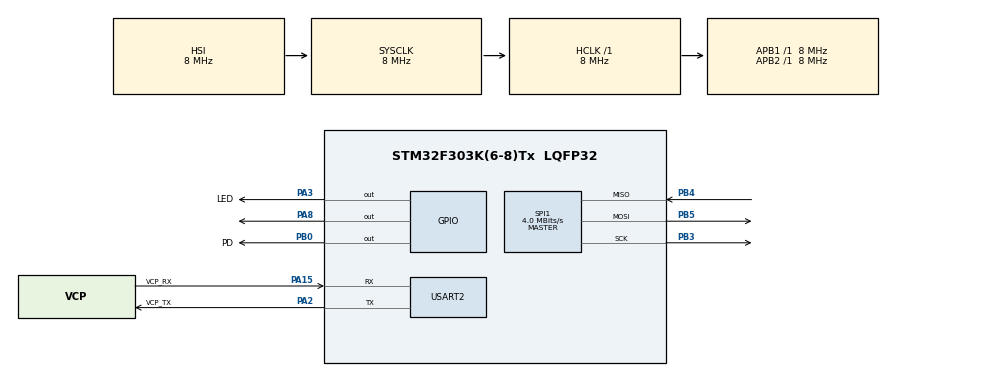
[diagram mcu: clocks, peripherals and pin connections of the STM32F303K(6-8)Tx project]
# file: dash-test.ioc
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Mcu.Family=STM32F3
Mcu.Name=STM32F303K(6-8)Tx
Mcu.Package=LQFP32
NVIC.PriorityGroup=NVIC_PRIORITYGROUP_4
PA13.GPIO_Label=SWDIO
PA13.Mode=Serial_Wire
PA13.Signal=SYS_JTMS-SWDIO
PA14.GPIO_Label=SWCLK
PA14.Mode=Serial_Wire
PA14.Signal=SYS_JTCK-SWCLK
PA15.GPIO_Label=VCP_RX
PA15.Mode=Asynchronous
PA15.Signal=USART2_RX
PA2.GPIO_Label=VCP_TX
PA2.Mode=Asynchronous
PA2.Signal=USART2_TX
PA3.GPIO_Label=LED
PA3.Signal=GPIO_Output
PA8.GPIO_Speed=GPIO_SPEED_FREQ_HIGH
PA8.PinState=GPIO_PIN_SET
PA8.Signal=GPIO_Output
PB0.GPIO_Label=PD
PB0.PinState=GPIO_PIN_SET
PB0.Signal=GPIO_Output
PB3.Mode=Full_Duplex_Master
PB3.Signal=SPI1_SCK
PB4.Mode=Full_Duplex_Master
PB4.Signal=SPI1_MISO
PB5.Mode=Full_Duplex_Master
PB5.Signal=SPI1_MOSI
PF0\ /\ OSC_IN.GPIO_Label=MCO
PF0\ /\ OSC_IN.Mode=HSE-External-Clock-Source
PF0\ /\ OSC_IN.Signal=RCC_OSC_IN
ProjectManager.HeapSize=0x200
ProjectManager.StackSize=0x400
ProjectManager.TargetToolchain=CMake
RCC.AHBFreq_Value=8000000
RCC.APB1Freq_Value=8000000
RCC.APB2Freq_Value=8000000
RCC.CortexFreq_Value=8000000
RCC.HSE_VALUE=8000000
RCC.HSI_VALUE=8000000
RCC.SYSCLKFreq_VALUE=8000000
SPI1.CalculateBaudRate=4.0 MBits/s
SPI1.DataSize=SPI_DATASIZE_8BIT
SPI1.Direction=SPI_DIRECTION_2LINES
SPI1.Mode=SPI_MODE_MASTER
SPI1.NSSPMode=SPI_NSS_PULSE_DISABLE
SPI1.VirtualType=VM_MASTER
USART2.VirtualMode-Asynchronous=VM_ASYNC
board=NUCLEO-F303K8

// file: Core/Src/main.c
/* USER CODE BEGIN Header */
/**
 ******************************************************************************
 * @file           : main.c
 * @brief          : Main program body
 ******************************************************************************
 * @attention
 *
 * Copyright (c) 2025 STMicroelectronics.
 * All rights reserved.
 *
 * This software is licensed under terms that can be found in the LICENSE file
 * in the root directory of this software component.
 * If no LICENSE file comes with this software, it is provided AS-IS.
 *
 ******************************************************************************
 */
/* USER CODE END Header */
#include "main.h"

/* USER CODE BEGIN Includes */
#include "bt817/address_mapping.h"
#include "bt817/bt817_api.h"
#include "bt817/bt817_init.h"
#include "bt817/dl_commands.h"
#include "bt817/host_commands.h"

/* USER CODE END Includes */

SPI_HandleTypeDef hspi1;

UART_HandleTypeDef huart2;

/* USER CODE BEGIN PV */
char errstr[128] = {0};
/* USER CODE END PV */

void SystemClock_Config(void);
static void MX_GPIO_Init(void);
static void MX_SPI1_Init(void);
static void MX_USART2_UART_Init(void);
/* USER CODE BEGIN PFP */
void test_display(void);
void readerr(char *str);
/* USER CODE END PFP */

int main(void) {

	/* MCU
	 * Configuration--------------------------------------------------------*/

	/* Reset of all peripherals, Initializes the Flash interface and the
	 * Systick. */
	HAL_Init();

	/* Configure the system clock */
	SystemClock_Config();

	/* Initialize all configured peripherals */
	MX_GPIO_Init();
	MX_SPI1_Init();
	MX_USART2_UART_Init();
	/* USER CODE BEGIN 2 */
	HAL_Delay(20);
	HAL_GPIO_WritePin(PD_GPIO_Port, PD_Pin, GPIO_PIN_RESET);
	HAL_Delay(6);
	HAL_GPIO_WritePin(PD_GPIO_Port, PD_Pin, GPIO_PIN_SET);
	HAL_Delay(21);
	bt817_init();
	test_display();
	/* USER CODE END 2 */

	/* Infinite loop */
	while (1) {

		/* USER CODE BEGIN 3 */
		// test_display();
		rd8(REG_ID);
		HAL_Delay(300);
	}
	/* USER CODE END 3 */
}

void SystemClock_Config(void) {
	RCC_OscInitTypeDef RCC_OscInitStruct = {0};
	RCC_ClkInitTypeDef RCC_ClkInitStruct = {0};

	/** Initializes the RCC Oscillators according to the specified
	 * parameters in the RCC_OscInitTypeDef structure.
	 */
	RCC_OscInitStruct.OscillatorType = RCC_OSCILLATORTYPE_HSI;
	RCC_OscInitStruct.HSIState = RCC_HSI_ON;
	RCC_OscInitStruct.HSICalibrationValue = RCC_HSICALIBRATION_DEFAULT;
	RCC_OscInitStruct.PLL.PLLState = RCC_PLL_NONE;
	if (HAL_RCC_OscConfig(&RCC_OscInitStruct) != HAL_OK) {
		Error_Handler();
	}

	/** Initializes the CPU, AHB and APB buses clocks
	 */
	RCC_ClkInitStruct.ClockType = RCC_CLOCKTYPE_HCLK |
	                              RCC_CLOCKTYPE_SYSCLK |
	                              RCC_CLOCKTYPE_PCLK1 | RCC_CLOCKTYPE_PCLK2;
	RCC_ClkInitStruct.SYSCLKSource = RCC_SYSCLKSOURCE_HSI;
	RCC_ClkInitStruct.AHBCLKDivider = RCC_SYSCLK_DIV1;
	RCC_ClkInitStruct.APB1CLKDivider = RCC_HCLK_DIV1;
	RCC_ClkInitStruct.APB2CLKDivider = RCC_HCLK_DIV1;

	if (HAL_RCC_ClockConfig(&RCC_ClkInitStruct, FLASH_LATENCY_0) !=
	    HAL_OK) {
		Error_Handler();
	}
}

static void MX_SPI1_Init(void) {

	/* SPI1 parameter configuration*/
	hspi1.Instance = SPI1;
	hspi1.Init.Mode = SPI_MODE_MASTER;
	hspi1.Init.Direction = SPI_DIRECTION_2LINES;
	hspi1.Init.DataSize = SPI_DATASIZE_8BIT;
	hspi1.Init.CLKPolarity = SPI_POLARITY_LOW;
	hspi1.Init.CLKPhase = SPI_PHASE_1EDGE;
	hspi1.Init.NSS = SPI_NSS_SOFT;
	hspi1.Init.BaudRatePrescaler = SPI_BAUDRATEPRESCALER_2;
	hspi1.Init.FirstBit = SPI_FIRSTBIT_MSB;
	hspi1.Init.TIMode = SPI_TIMODE_DISABLE;
	hspi1.Init.CRCCalculation = SPI_CRCCALCULATION_DISABLE;
	hspi1.Init.CRCPolynomial = 7;
	hspi1.Init.CRCLength = SPI_CRC_LENGTH_DATASIZE;
	hspi1.Init.NSSPMode = SPI_NSS_PULSE_DISABLE;
	if (HAL_SPI_Init(&hspi1) != HAL_OK) {
		Error_Handler();
	}
}

static void MX_USART2_UART_Init(void) {

	huart2.Instance = USART2;
	huart2.Init.BaudRate = 38400;
	huart2.Init.WordLength = UART_WORDLENGTH_8B;
	huart2.Init.StopBits = UART_STOPBITS_1;
	huart2.Init.Parity = UART_PARITY_NONE;
	huart2.Init.Mode = UART_MODE_TX_RX;
	huart2.Init.HwFlowCtl = UART_HWCONTROL_NONE;
	huart2.Init.OverSampling = UART_OVERSAMPLING_16;
	huart2.Init.OneBitSampling = UART_ONE_BIT_SAMPLE_DISABLE;
	huart2.AdvancedInit.AdvFeatureInit = UART_ADVFEATURE_NO_INIT;
	if (HAL_UART_Init(&huart2) != HAL_OK) {
		Error_Handler();
	}
}

static void MX_GPIO_Init(void) {
	GPIO_InitTypeDef GPIO_InitStruct = {0};

	/* GPIO Ports Clock Enable */
	__HAL_RCC_GPIOF_CLK_ENABLE();
	__HAL_RCC_GPIOA_CLK_ENABLE();
	__HAL_RCC_GPIOB_CLK_ENABLE();

	/*Configure GPIO pin Output Level */
	HAL_GPIO_WritePin(LED_GPIO_Port, LED_Pin, GPIO_PIN_RESET);

	/*Configure GPIO pin Output Level */
	HAL_GPIO_WritePin(PD_GPIO_Port, PD_Pin, GPIO_PIN_RESET);

	/*Configure GPIO pin Output Level */
	HAL_GPIO_WritePin(GPIOA, GPIO_PIN_8, GPIO_PIN_SET);

	/*Configure GPIO pin : LED_Pin */
	GPIO_InitStruct.Pin = LED_Pin;
	GPIO_InitStruct.Mode = GPIO_MODE_OUTPUT_PP;
	GPIO_InitStruct.Pull = GPIO_NOPULL;
	GPIO_InitStruct.Speed = GPIO_SPEED_FREQ_LOW;
	HAL_GPIO_Init(LED_GPIO_Port, &GPIO_InitStruct);

	/*Configure GPIO pin : PD_Pin */
	GPIO_InitStruct.Pin = PD_Pin;
	GPIO_InitStruct.Mode = GPIO_MODE_OUTPUT_PP;
	GPIO_InitStruct.Pull = GPIO_NOPULL;
	GPIO_InitStruct.Speed = GPIO_SPEED_FREQ_LOW;
	HAL_GPIO_Init(PD_GPIO_Port, &GPIO_InitStruct);

	/*Configure GPIO pin : PA8 */
	GPIO_InitStruct.Pin = GPIO_PIN_8;
	GPIO_InitStruct.Mode = GPIO_MODE_OUTPUT_PP;
	GPIO_InitStruct.Pull = GPIO_NOPULL;
	GPIO_InitStruct.Speed = GPIO_SPEED_FREQ_HIGH;
	HAL_GPIO_Init(GPIOA, &GPIO_InitStruct);

}

/* USER CODE BEGIN 4 */

void test_display(void) {
	wr32(RAM_DL + 0, CLEAR(1, 1, 1));               // clear screen
	wr32(RAM_DL + 4, BEGIN(BITMAPS));               // start drawing bitmaps
	wr32(RAM_DL + 8, VERTEX2II(220, 110, 31, 'T')); // ascii T in font 31
	wr32(RAM_DL + 12, VERTEX2II(244, 110, 31, 'E')); // ascii E
	wr32(RAM_DL + 16, VERTEX2II(270, 110, 31, 'X')); // ascii X
	wr32(RAM_DL + 20, VERTEX2II(299, 110, 31, 'T')); // ascii T
	wr32(RAM_DL + 24, END());
	wr32(RAM_DL + 28, COLOR_RGB(160, 22, 22)); // change colour to red
	wr32(RAM_DL + 32,
	     POINT_SIZE(320)); // set point size to 20 pixels in radius
	wr32(RAM_DL + 36, BEGIN(POINTS));             // start drawing points
	wr32(RAM_DL + 40, VERTEX2II(192, 133, 0, 0)); // red point
	wr32(RAM_DL + 44, END());
	wr32(RAM_DL + 48, DISPLAY()); // display the image
	wr8(REG_DLSWAP, DLSWAP_FRAME);
}

void readerr(char str[128]) {
	for (int i = 0; i < 128; i++) {
		char c = rd8(RAM_ERR_REPORT + i);
		if (c == '\0')
			return;
		if (str[i] != c) {
			str[i] = c;
		}
	}
}

/* USER CODE END 4 */

void Error_Handler(void) {
	/* USER CODE BEGIN Error_Handler_Debug */
	/* User can add his own implementation to report the HAL error return
	 * state */
	__disable_irq();
	while (1) {
	}
	/* USER CODE END Error_Handler_Debug */
}

#ifdef USE_FULL_ASSERT
/**
 * @brief  Reports the name of the source file and the source line number
 *         where the assert_param error has occurred.
 * @param  file: pointer to the source file name
 * @param  line: assert_param error line source number
 * @retval None
 */
void assert_failed(uint8_t *file, uint32_t line) {
	/* USER CODE BEGIN 6 */
	/* User can add his own implementation to report the file name and line
	   number, ex: printf("Wrong parameters value: file %s on line %d\r\n",
	   file, line) */
	/* USER CODE END 6 */
}
#endif /* USE_FULL_ASSERT */
